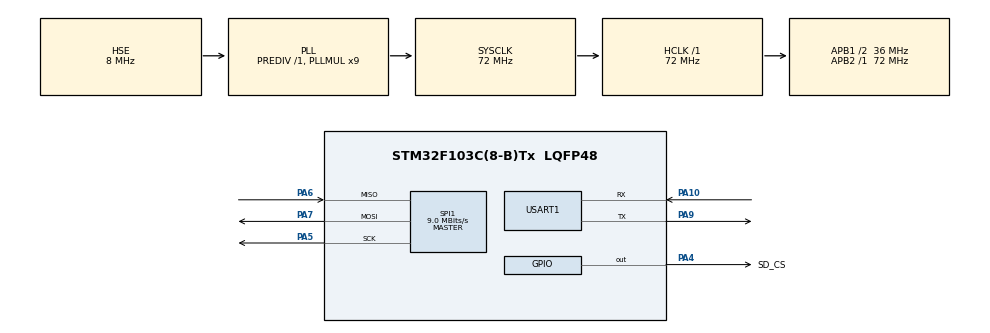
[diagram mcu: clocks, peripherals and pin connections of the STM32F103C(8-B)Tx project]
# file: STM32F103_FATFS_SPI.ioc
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FATFS._MAX_SS=4096
FATFS._USE_LFN=1
Mcu.Family=STM32F1
Mcu.Name=STM32F103C(8-B)Tx
Mcu.Package=LQFP48
NVIC.PriorityGroup=NVIC_PRIORITYGROUP_4
PA10.Mode=Asynchronous
PA10.Signal=USART1_RX
PA13.Mode=Serial_Wire
PA13.Signal=SYS_JTMS-SWDIO
PA14.Mode=Serial_Wire
PA14.Signal=SYS_JTCK-SWCLK
PA4.GPIO_Label=SD_CS
PA4.Signal=GPIO_Output
PA5.Mode=Full_Duplex_Master
PA5.Signal=SPI1_SCK
PA6.Mode=Full_Duplex_Master
PA6.Signal=SPI1_MISO
PA7.Mode=Full_Duplex_Master
PA7.Signal=SPI1_MOSI
PA9.Mode=Asynchronous
PA9.Signal=USART1_TX
PD0-OSC_IN.Mode=HSE-External-Oscillator
PD0-OSC_IN.Signal=RCC_OSC_IN
PD1-OSC_OUT.Mode=HSE-External-Oscillator
PD1-OSC_OUT.Signal=RCC_OSC_OUT
ProjectManager.HeapSize=0x200
ProjectManager.StackSize=0x400
ProjectManager.TargetToolchain=STM32CubeIDE
RCC.AHBFreq_Value=72000000
RCC.APB1CLKDivider=RCC_HCLK_DIV2
RCC.APB1Freq_Value=36000000
RCC.APB1TimFreq_Value=72000000
RCC.APB2Freq_Value=72000000
RCC.APB2TimFreq_Value=72000000
RCC.HCLKFreq_Value=72000000
RCC.PLLMUL=RCC_PLL_MUL9
RCC.PLLSourceVirtual=RCC_PLLSOURCE_HSE
RCC.SYSCLKFreq_VALUE=72000000
RCC.SYSCLKSource=RCC_SYSCLKSOURCE_PLLCLK
RCC.USBFreq_Value=72000000
SPI1.BaudRatePrescaler=SPI_BAUDRATEPRESCALER_8
SPI1.CalculateBaudRate=9.0 MBits/s
SPI1.Direction=SPI_DIRECTION_2LINES
SPI1.Mode=SPI_MODE_MASTER
SPI1.VirtualType=VM_MASTER
USART1.VirtualMode=VM_ASYNC
VP_FATFS_VS_Generic.Mode=User_defined
board=custom

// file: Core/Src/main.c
/* USER CODE BEGIN Header */
/**
  ******************************************************************************
  * @file           : main.c
  * @brief          : Main program body
  ******************************************************************************
  * @attention
  *
  * <h2><center>&copy; Copyright (c) 2020 STMicroelectronics.
  * All rights reserved.</center></h2>
  *
  * This software component is licensed by ST under BSD 3-Clause license,
  * the "License"; You may not use this file except in compliance with the
  * License. You may obtain a copy of the License at:
  *                        opensource.org/licenses/BSD-3-Clause
  *
  ******************************************************************************
  */
/* USER CODE END Header */

#include "main.h"
#include "fatfs.h"

/* USER CODE BEGIN Includes */
#include "fatfs_sd.h"
#include "string.h"
/* USER CODE END Includes */

SPI_HandleTypeDef hspi1;

UART_HandleTypeDef huart1;

void SystemClock_Config(void);
static void MX_GPIO_Init(void);
static void MX_SPI1_Init(void);
static void MX_USART1_UART_Init(void);

/* USER CODE BEGIN 0 */
FATFS fs;  // file system
FIL fil;  // file
FRESULT fresult;  // to store the result
char buffer[1024]; // to store data

UINT br, bw;   // file read/write count

/* capacity related variables */
FATFS *pfs;
DWORD fre_clust;
uint32_t total, free_space;

/* to send the data to the uart */
void send_uart (char *string)
{
	uint8_t len = strlen (string);
	HAL_UART_Transmit(&huart1, (uint8_t *) string, len, 2000);  // transmit in blocking mode
}

/* to find the size of data in the buffer */
int bufsize (char *buf)
{
	int i=0;
	while (*buf++ != '\0') i++;
	return i;
}

void bufclear (void)  // clear buffer
{
	for (int i=0; i<1024; i++)
	{
		buffer[i] = '\0';
	}
}
/* USER CODE END 0 */

int main(void)
{

  /* MCU Configuration--------------------------------------------------------*/

  /* Reset of all peripherals, Initializes the Flash interface and the Systick. */
  HAL_Init();

  /* Configure the system clock */
  SystemClock_Config();

  /* Initialize all configured peripherals */
  MX_GPIO_Init();
  MX_SPI1_Init();
  MX_USART1_UART_Init();
  MX_FATFS_Init();
  /* USER CODE BEGIN 2 */
  /* Mount SD Card */
      fresult = f_mount(&fs, "", 0);
      if (fresult != FR_OK) send_uart ("error in mounting SD CARD...\n");
      else send_uart("SD CARD mounted successfully...\n");

      /*************** Card capacity details ********************/

          /* Check free space */
          f_getfree("", &fre_clust, &pfs);

          total = (uint32_t)((pfs->n_fatent - 2) * pfs->csize * 0.5);
          sprintf (buffer, "SD CARD Total Size: \t%lu\n",total);
          send_uart(buffer);
          bufclear();
          free_space = (uint32_t)(fre_clust * pfs->csize * 0.5);
          sprintf (buffer, "SD CARD Free Space: \t%lu\n",free_space);
          send_uart(buffer);

          /************* The following operation is using PUTS and GETS *********************/

          /* Open file to write/ create a file if it doesn't exist */
          fresult = f_open(&fil, "file1.txt", FA_OPEN_ALWAYS | FA_READ | FA_WRITE);

          /* Writing text */
          fresult = f_puts("This data is from the First FILE\n\n", &fil);

          /* Close file */
          fresult = f_close(&fil);

          send_uart ("File1.txt created and the data is written \n");

          /* Open file to read */
          fresult = f_open(&fil, "file1.txt", FA_READ);

          /* Read string from the file */
          f_gets(buffer, fil.fsize, &fil);

          send_uart(buffer);

          /* Close file */
          f_close(&fil);

          bufclear();

          /**************** The following operation is using f_write and f_read **************************/

          /* Create second file with read write access and open it */
          fresult = f_open(&fil, "file2.txt", FA_OPEN_ALWAYS | FA_READ | FA_WRITE);

          /* Writing text */
          strcpy (buffer, "This is File 2 and it says Hello from controllerstech\n");

          fresult = f_write(&fil, buffer, bufsize(buffer), &bw);

          send_uart ("File2.txt created and data is written\n");

          /* Close file */
          f_close(&fil);

          // clearing buffer to show that result obtained is from the file
          bufclear();

          /* Open second file to read */
          fresult = f_open(&fil, "file2.txt", FA_READ);

          /* Read data from the file
           * Please see the function details for the arguments */
          f_read (&fil, buffer, fil.fsize, &br);
          send_uart(buffer);

          /* Close file */
          f_close(&fil);

          bufclear();

          /*********************UPDATING an existing file ***************************/

          /* Open the file with write access */
          fresult = f_open(&fil, "file2.txt", FA_OPEN_ALWAYS | FA_WRITE);

          /* Move to offset to the end of the file */
          fresult = f_lseek(&fil, fil.fsize);

          /* write the string to the file */
          fresult = f_puts("This is updated data and it should be in the end \n", &fil);

          f_close (&fil);

          /* Open to read the file */
          fresult = f_open (&fil, "file2.txt", FA_READ);

          /* Read string from the file */
          f_read (&fil, buffer, fil.fsize, &br);
          send_uart(buffer);

          /* Close file */
          f_close(&fil);

          bufclear();

          /*************************REMOVING FILES FROM THE DIRECTORY ****************************/

/*
          fresult = f_unlink("/file1.txt");
          if (fresult == FR_OK) send_uart("file1.txt removed successfully...\n");

          fresult = f_unlink("/file2.txt");
          if (fresult == FR_OK) send_uart("file2.txt removed successfully...\n");

           Unmount SDCARD
          fresult = f_mount(NULL, "", 1);
          if (fresult == FR_OK) send_uart ("SD CARD UNMOUNTED successfully...\n");
*/

  /* USER CODE END 2 */

  /* Infinite loop */
  while (1)
  {

  }
}

void SystemClock_Config(void)
{
  RCC_OscInitTypeDef RCC_OscInitStruct = {0};
  RCC_ClkInitTypeDef RCC_ClkInitStruct = {0};

  /** Initializes the CPU, AHB and APB busses clocks
  */
  RCC_OscInitStruct.OscillatorType = RCC_OSCILLATORTYPE_HSE;
  RCC_OscInitStruct.HSEState = RCC_HSE_ON;
  RCC_OscInitStruct.HSEPredivValue = RCC_HSE_PREDIV_DIV1;
  RCC_OscInitStruct.HSIState = RCC_HSI_ON;
  RCC_OscInitStruct.PLL.PLLState = RCC_PLL_ON;
  RCC_OscInitStruct.PLL.PLLSource = RCC_PLLSOURCE_HSE;
  RCC_OscInitStruct.PLL.PLLMUL = RCC_PLL_MUL9;
  if (HAL_RCC_OscConfig(&RCC_OscInitStruct) != HAL_OK)
  {
    Error_Handler();
  }
  /** Initializes the CPU, AHB and APB busses clocks
  */
  RCC_ClkInitStruct.ClockType = RCC_CLOCKTYPE_HCLK|RCC_CLOCKTYPE_SYSCLK
                              |RCC_CLOCKTYPE_PCLK1|RCC_CLOCKTYPE_PCLK2;
  RCC_ClkInitStruct.SYSCLKSource = RCC_SYSCLKSOURCE_PLLCLK;
  RCC_ClkInitStruct.AHBCLKDivider = RCC_SYSCLK_DIV1;
  RCC_ClkInitStruct.APB1CLKDivider = RCC_HCLK_DIV2;
  RCC_ClkInitStruct.APB2CLKDivider = RCC_HCLK_DIV1;

  if (HAL_RCC_ClockConfig(&RCC_ClkInitStruct, FLASH_LATENCY_2) != HAL_OK)
  {
    Error_Handler();
  }
}

static void MX_SPI1_Init(void)
{

  /* SPI1 parameter configuration*/
  hspi1.Instance = SPI1;
  hspi1.Init.Mode = SPI_MODE_MASTER;
  hspi1.Init.Direction = SPI_DIRECTION_2LINES;
  hspi1.Init.DataSize = SPI_DATASIZE_8BIT;
  hspi1.Init.CLKPolarity = SPI_POLARITY_LOW;
  hspi1.Init.CLKPhase = SPI_PHASE_1EDGE;
  hspi1.Init.NSS = SPI_NSS_SOFT;
  hspi1.Init.BaudRatePrescaler = SPI_BAUDRATEPRESCALER_8;
  hspi1.Init.FirstBit = SPI_FIRSTBIT_MSB;
  hspi1.Init.TIMode = SPI_TIMODE_DISABLE;
  hspi1.Init.CRCCalculation = SPI_CRCCALCULATION_DISABLE;
  hspi1.Init.CRCPolynomial = 10;
  if (HAL_SPI_Init(&hspi1) != HAL_OK)
  {
    Error_Handler();
  }

}

static void MX_USART1_UART_Init(void)
{

  huart1.Instance = USART1;
  huart1.Init.BaudRate = 115200;
  huart1.Init.WordLength = UART_WORDLENGTH_8B;
  huart1.Init.StopBits = UART_STOPBITS_1;
  huart1.Init.Parity = UART_PARITY_NONE;
  huart1.Init.Mode = UART_MODE_TX_RX;
  huart1.Init.HwFlowCtl = UART_HWCONTROL_NONE;
  huart1.Init.OverSampling = UART_OVERSAMPLING_16;
  if (HAL_UART_Init(&huart1) != HAL_OK)
  {
    Error_Handler();
  }

}

static void MX_GPIO_Init(void)
{
  GPIO_InitTypeDef GPIO_InitStruct = {0};

  /* GPIO Ports Clock Enable */
  __HAL_RCC_GPIOD_CLK_ENABLE();
  __HAL_RCC_GPIOA_CLK_ENABLE();

  /*Configure GPIO pin Output Level */
  HAL_GPIO_WritePin(SD_CS_GPIO_Port, SD_CS_Pin, GPIO_PIN_RESET);

  /*Configure GPIO pin : SD_CS_Pin */
  GPIO_InitStruct.Pin = SD_CS_Pin;
  GPIO_InitStruct.Mode = GPIO_MODE_OUTPUT_PP;
  GPIO_InitStruct.Pull = GPIO_NOPULL;
  GPIO_InitStruct.Speed = GPIO_SPEED_FREQ_LOW;
  HAL_GPIO_Init(SD_CS_GPIO_Port, &GPIO_InitStruct);

}

void Error_Handler(void)
{
}

/************************ (C) COPYRIGHT STMicroelectronics *****END OF FILE****/
